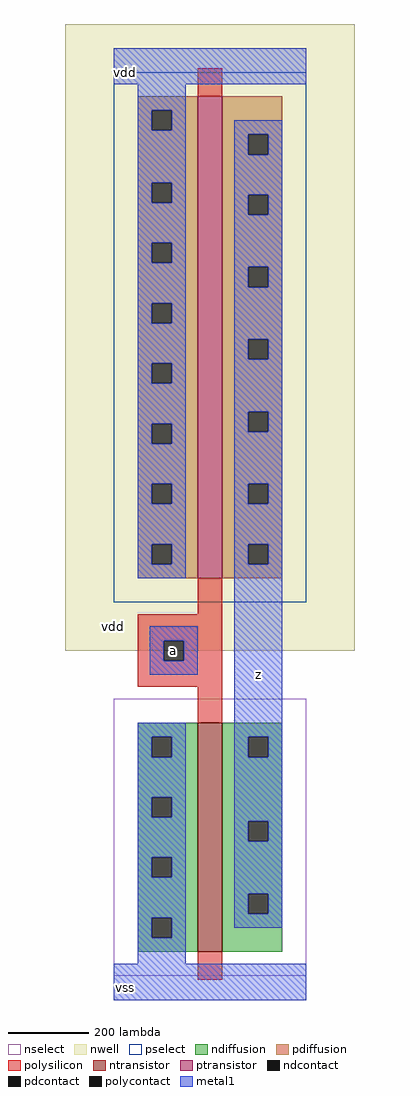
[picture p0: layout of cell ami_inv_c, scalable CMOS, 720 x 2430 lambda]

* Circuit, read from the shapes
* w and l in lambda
.subckt ami_inv_c z a vdd vss
M1 z a vss VSUBS nfet w=570 l=60
M2 z a vdd vdd pfet w=1200 l=60
.ends

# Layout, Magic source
magic
tech scmos
<< nwell >>
rect -120 870 600 2430
<< ntransistor >>
rect 210 120 270 690
<< ptransistor >>
rect 210 1050 270 2250
<< nselect >>
rect 0 60 480 750
<< pselect >>
rect 0 990 480 2310
<< ndiffusion >>
rect 60 655 210 690
rect 60 605 95 655
rect 145 605 210 655
rect 60 505 210 605
rect 60 455 95 505
rect 145 455 210 505
rect 60 355 210 455
rect 60 305 95 355
rect 145 305 210 355
rect 60 205 210 305
rect 60 155 95 205
rect 145 155 210 205
rect 60 120 210 155
rect 270 655 420 690
rect 270 605 335 655
rect 385 605 420 655
rect 270 445 420 605
rect 270 395 335 445
rect 385 395 420 445
rect 270 265 420 395
rect 270 215 335 265
rect 385 215 420 265
rect 270 120 420 215
<< pdiffusion >>
rect 60 2215 210 2250
rect 60 2165 95 2215
rect 145 2165 210 2215
rect 60 2035 210 2165
rect 60 1985 95 2035
rect 145 1985 210 2035
rect 60 1885 210 1985
rect 60 1835 95 1885
rect 145 1835 210 1885
rect 60 1735 210 1835
rect 60 1685 95 1735
rect 145 1685 210 1735
rect 60 1585 210 1685
rect 60 1535 95 1585
rect 145 1535 210 1585
rect 60 1435 210 1535
rect 60 1385 95 1435
rect 145 1385 210 1435
rect 60 1285 210 1385
rect 60 1235 95 1285
rect 145 1235 210 1285
rect 60 1135 210 1235
rect 60 1085 95 1135
rect 145 1085 210 1135
rect 60 1050 210 1085
rect 270 2155 420 2250
rect 270 2105 335 2155
rect 385 2105 420 2155
rect 270 2005 420 2105
rect 270 1955 335 2005
rect 385 1955 420 2005
rect 270 1825 420 1955
rect 270 1775 335 1825
rect 385 1775 420 1825
rect 270 1645 420 1775
rect 270 1595 335 1645
rect 385 1595 420 1645
rect 270 1465 420 1595
rect 270 1415 335 1465
rect 385 1415 420 1465
rect 270 1285 420 1415
rect 270 1235 335 1285
rect 385 1235 420 1285
rect 270 1135 420 1235
rect 270 1085 335 1135
rect 385 1085 420 1135
rect 270 1050 420 1085
<< ndcontact >>
rect 95 605 145 655
rect 95 455 145 505
rect 95 305 145 355
rect 95 155 145 205
rect 335 605 385 655
rect 335 395 385 445
rect 335 215 385 265
<< pdcontact >>
rect 95 2165 145 2215
rect 95 1985 145 2035
rect 95 1835 145 1885
rect 95 1685 145 1735
rect 95 1535 145 1585
rect 95 1385 145 1435
rect 95 1235 145 1285
rect 95 1085 145 1135
rect 335 2105 385 2155
rect 335 1955 385 2005
rect 335 1775 385 1825
rect 335 1595 385 1645
rect 335 1415 385 1465
rect 335 1235 385 1285
rect 335 1085 385 1135
<< polysilicon >>
rect 210 2250 270 2320
rect 210 960 270 1050
rect 60 895 270 960
rect 60 845 125 895
rect 175 845 270 895
rect 60 780 270 845
rect 210 690 270 780
rect 210 50 270 120
<< polycontact >>
rect 125 845 175 895
<< metal1 >>
rect 0 2280 480 2370
rect 60 2215 180 2280
rect 60 2165 95 2215
rect 145 2165 180 2215
rect 60 2035 180 2165
rect 60 1985 95 2035
rect 145 1985 180 2035
rect 60 1885 180 1985
rect 60 1835 95 1885
rect 145 1835 180 1885
rect 60 1735 180 1835
rect 60 1685 95 1735
rect 145 1685 180 1735
rect 60 1585 180 1685
rect 60 1535 95 1585
rect 145 1535 180 1585
rect 60 1435 180 1535
rect 60 1385 95 1435
rect 145 1385 180 1435
rect 60 1285 180 1385
rect 60 1235 95 1285
rect 145 1235 180 1285
rect 60 1135 180 1235
rect 60 1085 95 1135
rect 145 1085 180 1135
rect 60 1050 180 1085
rect 300 2155 420 2190
rect 300 2105 335 2155
rect 385 2105 420 2155
rect 300 2005 420 2105
rect 300 1955 335 2005
rect 385 1955 420 2005
rect 300 1825 420 1955
rect 300 1775 335 1825
rect 385 1775 420 1825
rect 300 1645 420 1775
rect 300 1595 335 1645
rect 385 1595 420 1645
rect 300 1465 420 1595
rect 300 1415 335 1465
rect 385 1415 420 1465
rect 300 1285 420 1415
rect 300 1235 335 1285
rect 385 1235 420 1285
rect 300 1135 420 1235
rect 300 1085 335 1135
rect 385 1085 420 1135
rect 90 895 210 930
rect 90 845 125 895
rect 175 845 210 895
rect 90 810 210 845
rect 60 655 180 690
rect 60 605 95 655
rect 145 605 180 655
rect 60 505 180 605
rect 60 455 95 505
rect 145 455 180 505
rect 60 355 180 455
rect 60 305 95 355
rect 145 305 180 355
rect 60 205 180 305
rect 60 155 95 205
rect 145 155 180 205
rect 300 655 420 1085
rect 300 605 335 655
rect 385 605 420 655
rect 300 445 420 605
rect 300 395 335 445
rect 385 395 420 445
rect 300 265 420 395
rect 300 215 335 265
rect 385 215 420 265
rect 300 180 420 215
rect 60 90 180 155
rect 0 0 480 90
<< labels >>
flabel nwell 0 930 0 930 2 FreeSans 400 0 0 0 vdd
flabel metal1 s 30 30 30 30 2 FreeSans 400 0 0 0 vss
port 4 ne
flabel metal1 s 30 2310 30 2310 2 FreeSans 400 0 0 0 vdd
port 3 ne
flabel metal1 s 360 810 360 810 2 FreeSans 400 0 0 0 z
port 1 ne
flabel metal1 s 150 870 150 870 2 FreeSans 400 0 0 0 a
port 2 ne
<< end >>
